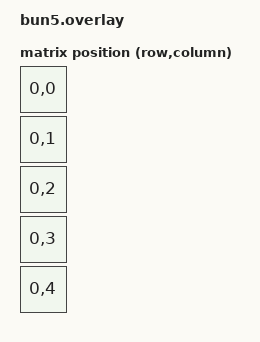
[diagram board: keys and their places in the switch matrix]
#include <dt-bindings/zmk/matrix_transform.h>

#include "bun5-layouts.dtsi"

/ {
    chosen {
        zmk,physical-layout = &default_layout;
    };

    kscan0: kscan {
        compatible = "zmk,kscan-gpio-direct";
        wakeup-source;

        input-gpios
            = <&xiao_d 0 (GPIO_ACTIVE_LOW | GPIO_PULL_UP)>
            , <&xiao_d 1 (GPIO_ACTIVE_LOW | GPIO_PULL_UP)>
            , <&xiao_d 2 (GPIO_ACTIVE_LOW | GPIO_PULL_UP)>
            , <&xiao_d 3 (GPIO_ACTIVE_LOW | GPIO_PULL_UP)>
            , <&xiao_d 4 (GPIO_ACTIVE_LOW | GPIO_PULL_UP)>
    };

    default_transform: default_transform {
        compatible = "zmk,matrix-transform";

        columns = <5>;
        rows = <1>;

        map = <
            RC(0, 0)
            RC(0, 1)
            RC(0, 2)
            RC(0, 3)
            RC(0, 4)
        >;
    };
};
